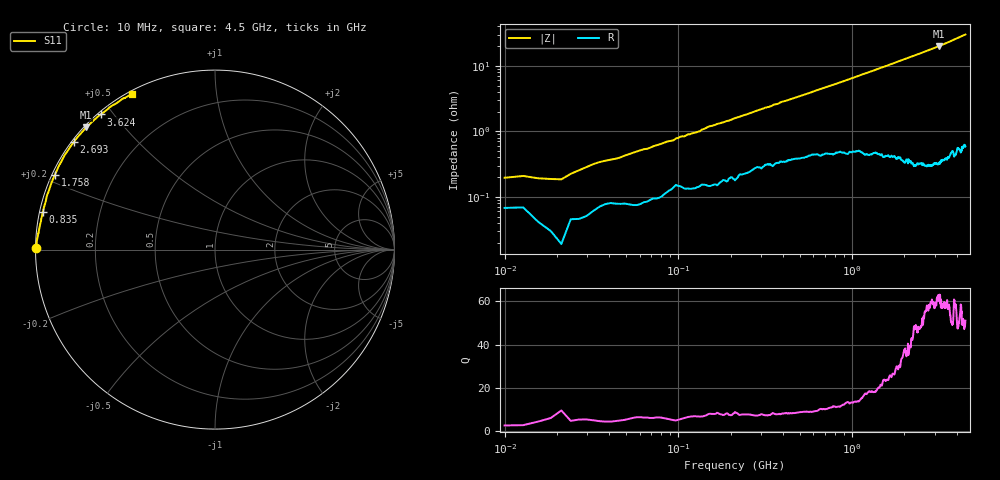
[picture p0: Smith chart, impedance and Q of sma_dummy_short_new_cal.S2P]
!Agilent Technologies,E5071C,MY46101273,A.11.02
!Date: Mon Oct 02 14:27:39 2017
!Data & Calibration Information:
!Freq	S11:SOLT1(ON)	S21:NONE(--)	S12:NONE(--)	S22:NONE(--)
!PortZ  Port1:50+j0  Port2:50+j0
!Above PortZ is port z conversion or system Z0 setting when saving the data.
!When reading, reference impedance value at option line is always used.
# Hz S RI R 50
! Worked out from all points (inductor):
!   1601 points, 10 MHz to 4.5 GHz, reference 50 ohm
!   read as one part to ground: L = 1.36 nH near 32.45 MHz
!   highest Q = 62.3 at 3.173 GHz (marker M1), where L = 1 nH
!   S11 on the Smith chart (normalised r, x): 10 MHz: 0.00, +0.00; 835 MHz: 0.01, +0.11; 1.758 GHz: 0.01, +0.22; 2.693 GHz: 0.01, +0.34; 3.624 GHz: 0.01, +0.46; 4.5 GHz: 0.01, +0.60
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1e7  -0.9973 0.00732  0 0  0 0  0 0
3.80625e7  -0.9968 0.0139  0 0  0 0  0 0
1.6715e8  -0.9927 0.0512  0 0  0 0  0 0
4.056812e8  -0.98 0.112  0 0  0 0  0 0
7.592688e8  -0.9627 0.1945  0 0  0 0  0 0
8.350375e8  -0.9583 0.2113  0 0  0 0  0 0
1.208269e9  -0.937 0.2964  0 0  0 0  0 0
1.508538e9  -0.9151 0.3627  0 0  0 0  0 0
1.758294e9  -0.8924 0.4152  0 0  0 0  0 0
1.943506e9  -0.8747 0.4561  0 0  0 0  0 0
2.083819e9  -0.8605 0.4818  0 0  0 0  0 0
2.255e9  -0.8418 0.518  0 0  0 0  0 0
2.692775e9  -0.7873 0.5994  0 0  0 0  0 0
2.847119e9  -0.7671 0.6249  0 0  0 0  0 0
3.004269e9  -0.7423 0.6528  0 0  0 0  0 0
3.172644e9  -0.717 0.6809  0 0  0 0  0 0
3.62445e9  -0.6379 0.7532  0 0  0 0  0 0
3.753538e9  -0.6115 0.7716  0 0  0 0  0 0
3.8714e9  -0.5899 0.7912  0 0  0 0  0 0
4.048194e9  -0.5544 0.8117  0 0  0 0  0 0
4.236212e9  -0.5167 0.8392  0 0  0 0  0 0
4.5e9  -0.4608 0.8682  0 0  0 0  0 0
